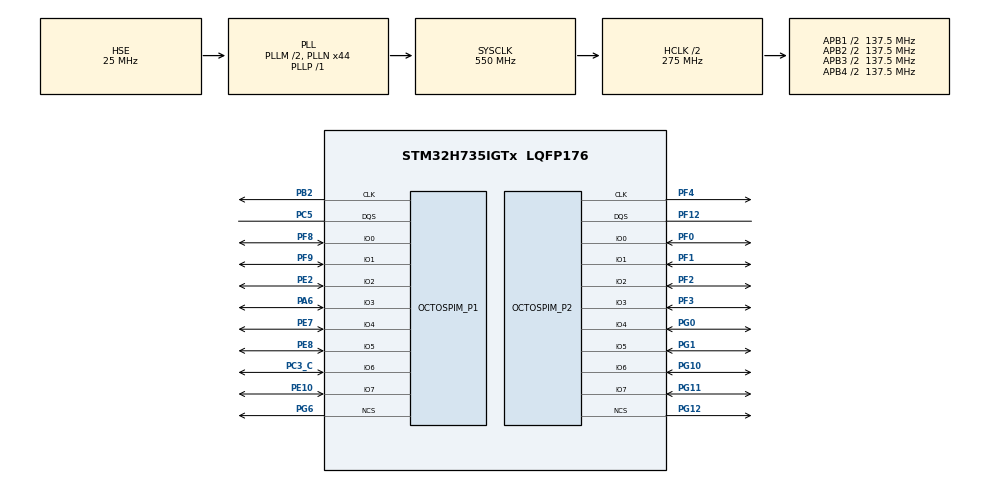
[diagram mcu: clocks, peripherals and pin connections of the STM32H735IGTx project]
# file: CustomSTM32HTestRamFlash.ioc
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CORTEX_M7.AccessPermission_S-Cortex_Memory_Protection_Unit_Region2_Settings_S=MPU_REGION_FULL_ACCESS
CORTEX_M7.AccessPermission_Spec=MPU_REGION_FULL_ACCESS
CORTEX_M7.BaseAddress_S-Cortex_Memory_Protection_Unit_Region1_Settings_S=0x90000000
CORTEX_M7.BaseAddress_S-Cortex_Memory_Protection_Unit_Region2_Settings_S=0x90000000
CORTEX_M7.BaseAddress_Spec=0x24000000
CORTEX_M7.DisableExec_S-Cortex_Memory_Protection_Unit_Region1_Settings_S=MPU_INSTRUCTION_ACCESS_DISABLE
CORTEX_M7.DisableExec_S-Cortex_Memory_Protection_Unit_Region2_Settings_S=MPU_INSTRUCTION_ACCESS_DISABLE
CORTEX_M7.Enable_S-Cortex_Memory_Protection_Unit_Region1_Settings_S=MPU_REGION_ENABLE
CORTEX_M7.Enable_S-Cortex_Memory_Protection_Unit_Region2_Settings_S=MPU_REGION_ENABLE
CORTEX_M7.IsBufferable_S-Cortex_Memory_Protection_Unit_Region2_Settings_S=MPU_ACCESS_NOT_BUFFERABLE
CORTEX_M7.IsBufferable_Spec=MPU_ACCESS_BUFFERABLE
CORTEX_M7.IsCacheable_S-Cortex_Memory_Protection_Unit_Region2_Settings_S=MPU_ACCESS_CACHEABLE
CORTEX_M7.IsCacheable_Spec=MPU_ACCESS_CACHEABLE
CORTEX_M7.IsShareable_Spec=MPU_ACCESS_NOT_SHAREABLE
CORTEX_M7.Size_S-Cortex_Memory_Protection_Unit_Region1_Settings_S=MPU_REGION_SIZE_512MB
CORTEX_M7.Size_S-Cortex_Memory_Protection_Unit_Region2_Settings_S=MPU_REGION_SIZE_64MB
CORTEX_M7.Size_Spec=MPU_REGION_SIZE_512KB
CORTEX_M7.SubRegionDisable_Spec=0x0
CORTEX_M7.default_mode_Activation=1
Mcu.Family=STM32H7
Mcu.Name=STM32H735IGTx
Mcu.Package=LQFP176
NVIC.PriorityGroup=NVIC_PRIORITYGROUP_4
OCTOSPI1.ChipSelectHighTime=2
OCTOSPI1.ClockPrescaler=2
OCTOSPI1.FifoThreshold=4
OCTOSPI1.MemoryType=HAL_OSPI_MEMTYPE_MACRONIX
OCTOSPI2.AccessTime=6
OCTOSPI2.ChipSelectBoundary=23
OCTOSPI2.ChipSelectHighTime=4
OCTOSPI2.ClockPrescaler=2
OCTOSPI2.DelayBlockBypass=HAL_OSPI_DELAY_BLOCK_USED
OCTOSPI2.DelayHoldQuarterCycle=HAL_OSPI_DHQC_ENABLE
OCTOSPI2.DeviceSize=24
OCTOSPI2.FifoThreshold=4
OCTOSPI2.LatencyMode=HAL_OSPI_FIXED_LATENCY
OCTOSPI2.RWRecoveryTime=3
OCTOSPI2.Refresh=400
OCTOSPI2.WriteZeroLatency=HAL_OSPI_LATENCY_ON_WRITE
PA13(JTMS/SWDIO).Mode=Serial_Wire
PA13(JTMS/SWDIO).Signal=DEBUG_JTMS-SWDIO
PA14(JTCK/SWCLK).Mode=Serial_Wire
PA14(JTCK/SWCLK).Signal=DEBUG_JTCK-SWCLK
PA6.Mode=OCTOSPI1_IOL_Port1L
PA6.Signal=OCTOSPIM_P1_IO3
PB2.Mode=O1_P1_CLK
PB2.Signal=OCTOSPIM_P1_CLK
PC3_C.Mode=OCTOSPI1_IOH_Port1H
PC3_C.Signal=OCTOSPIM_P1_IO6
PC5.Mode=OCTOSPI1_Port1_DQS
PC5.Signal=OCTOSPIM_P1_DQS
PE10.Mode=OCTOSPI1_IOH_Port1H
PE10.Signal=OCTOSPIM_P1_IO7
PE2.Mode=OCTOSPI1_IOL_Port1L
PE2.Signal=OCTOSPIM_P1_IO2
PE7.Mode=OCTOSPI1_IOH_Port1H
PE7.Signal=OCTOSPIM_P1_IO4
PE8.Mode=OCTOSPI1_IOH_Port1H
PE8.Signal=OCTOSPIM_P1_IO5
PF0.Mode=OCTOSPI2_IOL_Port2L
PF0.Signal=OCTOSPIM_P2_IO0
PF1.Mode=OCTOSPI2_IOL_Port2L
PF1.Signal=OCTOSPIM_P2_IO1
PF12.Mode=OCTOSPI2_Port2_DQS
PF12.Signal=OCTOSPIM_P2_DQS
PF2.Mode=OCTOSPI2_IOL_Port2L
PF2.Signal=OCTOSPIM_P2_IO2
PF3.Mode=OCTOSPI2_IOL_Port2L
PF3.Signal=OCTOSPIM_P2_IO3
PF4.Mode=O2_P2_CLK
PF4.Signal=OCTOSPIM_P2_CLK
PF8.Mode=OCTOSPI1_IOL_Port1L
PF8.Signal=OCTOSPIM_P1_IO0
PF9.Mode=OCTOSPI1_IOL_Port1L
PF9.Signal=OCTOSPIM_P1_IO1
PG0.Mode=OCTOSPI2_IOH_Port2H
PG0.Signal=OCTOSPIM_P2_IO4
PG1.Mode=OCTOSPI2_IOH_Port2H
PG1.Signal=OCTOSPIM_P2_IO5
PG10.Mode=OCTOSPI2_IOH_Port2H
PG10.Signal=OCTOSPIM_P2_IO6
PG11.Mode=OCTOSPI2_IOH_Port2H
PG11.Signal=OCTOSPIM_P2_IO7
PG12.Mode=OCTOSPI2_Port2_NCS
PG12.Signal=OCTOSPIM_P2_NCS
PG6.Mode=OCTOSPI1_Port1_NCS
PG6.Signal=OCTOSPIM_P1_NCS
PH0-OSC_IN.Mode=HSE-External-Oscillator
PH0-OSC_IN.Signal=RCC_OSC_IN
PH1-OSC_OUT.Mode=HSE-External-Oscillator
PH1-OSC_OUT.Signal=RCC_OSC_OUT
ProjectManager.HeapSize=0x200
ProjectManager.StackSize=0x400
ProjectManager.TargetToolchain=STM32CubeIDE
RCC.ADCFreq_Value=200000000
RCC.APB1Freq_Value=137500000
RCC.APB2Freq_Value=137500000
RCC.APB3Freq_Value=137500000
RCC.APB4Freq_Value=137500000
RCC.CortexFreq_Value=550000000
RCC.D1PPRE=RCC_APB3_DIV2
RCC.D2PPRE1=RCC_APB1_DIV2
RCC.D2PPRE2=RCC_APB2_DIV2
RCC.D3PPRE=RCC_APB4_DIV2
RCC.DIVM1=2
RCC.DIVM2=5
RCC.DIVM3=25
RCC.DIVN1=44
RCC.DIVN2=80
RCC.DIVN3=288
RCC.DIVP1=1
RCC.HCLKFreq_Value=275000000
RCC.HPRE=RCC_HCLK_DIV2
RCC.PLL2FRACN=0
RCC.PLL3FRACN=0
RCC.PLLFRACN=0
RCC.PLLSourceVirtual=RCC_PLLSOURCE_HSE
RCC.QSPICLockSelection=RCC_OSPICLKSOURCE_PLL2
RCC.SYSCLKFreq_VALUE=550000000
RCC.SYSCLKSource=RCC_SYSCLKSOURCE_PLLCLK
RCC.USBFreq_Value=275000000
VP_MEMORYMAP_VS_MEMORYMAP.Mode=CurAppReg
VP_OCTOSPI1_VS_octo.Mode=octo_mode
VP_OCTOSPI2_VS_octo.Mode=hyperbus_mode
board=custom

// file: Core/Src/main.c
/* USER CODE BEGIN Header */
/**
 ******************************************************************************
 * @file           : main.c
 * @brief          : Main program body
 ******************************************************************************
 * @attention
 *
 * Copyright (c) 2024 STMicroelectronics.
 * All rights reserved.
 *
 * This software is licensed under terms that can be found in the LICENSE file
 * in the root directory of this software component.
 * If no LICENSE file comes with this software, it is provided AS-IS.
 *
 ******************************************************************************
 */
/* USER CODE END Header */
#include "main.h"

/* USER CODE BEGIN Includes */
#include "stm32h735g_discovery_ospi.h"
#include "stm32h7xx_hal_ospi.h"
#include "stm32h735g_discovery_ts.h"
#include "stm32h735g_discovery_bus.h"
/* USER CODE END Includes */

/* USER CODE BEGIN PD */
#define OSPI_FLASH_ADDRESS_START 0x90000000
//#define OSPI_FLASH_SIZE 0x3D09000 //64MByte
#define OSPI_FLASH_SIZE 100 //100Byte
#define OSPI_RAM_ADDRESS_START 0x70000000
#define OSPI_RAM_SIZE 100 //100Byte
/* USER CODE END PD */

OSPI_HandleTypeDef hospi1;
OSPI_HandleTypeDef hospi2;

/* USER CODE BEGIN PV */
uint32_t counter;
uint32_t *externalFlash = 0x90000000;
uint32_t *externalRam = 0x70000000;
const uint32_t size = 100;
uint32_t result[100];
MX25LM51245G_Info_t infoFlash;
int32_t infoOfMemory = 0;
uint8_t dataFromMemory[100];
uint8_t writeData[100] = { [0 ... 99] = 0x23 };

uint32_t ospi_counter;
uint32_t ospiTestStart;
uint32_t ospiTestStop;

/* USER CODE END PV */

void SystemClock_Config(void);
void PeriphCommonClock_Config(void);
static void MPU_Config(void);
static void MX_GPIO_Init(void);
static void MX_OCTOSPI2_Init(void);
static void MX_OCTOSPI1_Init(void);

/* USER CODE BEGIN 0 */
void ospi_flash_test()
{
	ospiTestStart = HAL_GetTick();
	for (ospi_counter = 0x00; ospi_counter < OSPI_FLASH_SIZE; ospi_counter++)
	{
		*(__IO uint8_t*) (externalFlash + ospi_counter) = (uint8_t) 0x22;
		HAL_Delay(30);
		dataFromMemory[ospi_counter] = *(__IO uint8_t*) (externalFlash + ospi_counter);
	}
	ospiTestStop = HAL_GetTick() - ospiTestStart;
	HAL_Delay(50);
}

void ospi_ram_test()
{

	ospiTestStart = HAL_GetTick();
	for (ospi_counter = 0; ospi_counter < OSPI_RAM_SIZE; ospi_counter++)
	{
		*(__IO uint32_t*) (0x70000000 + ospi_counter) = (uint8_t) 0x23;
		HAL_Delay(30);
		dataFromMemory[ospi_counter] = *(__IO uint8_t*) (0x70000000 + ospi_counter);
	}
	ospiTestStop = HAL_GetTick() - ospiTestStart;
	HAL_Delay(50);

}
/* USER CODE END 0 */

int main(void)
{

	/* MPU Configuration--------------------------------------------------------*/
	MPU_Config();

	/* MCU Configuration--------------------------------------------------------*/

	/* Reset of all peripherals, Initializes the Flash interface and the Systick. */
	HAL_Init();

	/* Configure the system clock */
	SystemClock_Config();

	/* Configure the peripherals common clocks */
	PeriphCommonClock_Config();

	/* Initialize all configured peripherals */
	MX_GPIO_Init();
	MX_OCTOSPI2_Init();
	MX_OCTOSPI1_Init();

	/* Infinite loop */
	while (1)
	{

		/* USER CODE BEGIN 3 */

		if (counter < 100)
		{
			counter++;
		}
		else
		{
			counter = 0;
		}
		HAL_Delay(10);

		//ospi_ram_test();
		//ospi_flash_test();

		//int32_t BSP_OSPI_NOR_Write(uint32_t Instance, uint8_t* pData, uint32_t WriteAddr, uint32_t Size)
		infoOfMemory = BSP_OSPI_NOR_Write(0, writeData, 0x90000000, 100);
		HAL_Delay(10);
		//int32_t BSP_OSPI_NOR_Read(uint32_t Instance, uint8_t* pData, uint32_t ReadAddr, uint32_t Size)
		infoOfMemory = BSP_OSPI_NOR_Read(0,dataFromMemory,0x9000000,100);

	}
	/* USER CODE END 3 */
}

void SystemClock_Config(void)
{
	RCC_OscInitTypeDef RCC_OscInitStruct =
	{ 0 };
	RCC_ClkInitTypeDef RCC_ClkInitStruct =
	{ 0 };

	/** Supply configuration update enable
	 */
	HAL_PWREx_ConfigSupply(PWR_DIRECT_SMPS_SUPPLY);

	/** Configure the main internal regulator output voltage
	 */
	__HAL_PWR_VOLTAGESCALING_CONFIG(PWR_REGULATOR_VOLTAGE_SCALE0);

	while (!__HAL_PWR_GET_FLAG(PWR_FLAG_VOSRDY))
	{
	}

	/** Initializes the RCC Oscillators according to the specified parameters
	 * in the RCC_OscInitTypeDef structure.
	 */
	RCC_OscInitStruct.OscillatorType = RCC_OSCILLATORTYPE_HSE;
	RCC_OscInitStruct.HSEState = RCC_HSE_ON;
	RCC_OscInitStruct.PLL.PLLState = RCC_PLL_ON;
	RCC_OscInitStruct.PLL.PLLSource = RCC_PLLSOURCE_HSE;
	RCC_OscInitStruct.PLL.PLLM = 2;
	RCC_OscInitStruct.PLL.PLLN = 44;
	RCC_OscInitStruct.PLL.PLLP = 1;
	RCC_OscInitStruct.PLL.PLLQ = 2;
	RCC_OscInitStruct.PLL.PLLR = 2;
	RCC_OscInitStruct.PLL.PLLRGE = RCC_PLL1VCIRANGE_3;
	RCC_OscInitStruct.PLL.PLLVCOSEL = RCC_PLL1VCOWIDE;
	RCC_OscInitStruct.PLL.PLLFRACN = 0;
	if (HAL_RCC_OscConfig(&RCC_OscInitStruct) != HAL_OK)
	{
		Error_Handler();
	}

	/** Initializes the CPU, AHB and APB buses clocks
	 */
	RCC_ClkInitStruct.ClockType = RCC_CLOCKTYPE_HCLK | RCC_CLOCKTYPE_SYSCLK
			| RCC_CLOCKTYPE_PCLK1 | RCC_CLOCKTYPE_PCLK2 | RCC_CLOCKTYPE_D3PCLK1
			| RCC_CLOCKTYPE_D1PCLK1;
	RCC_ClkInitStruct.SYSCLKSource = RCC_SYSCLKSOURCE_PLLCLK;
	RCC_ClkInitStruct.SYSCLKDivider = RCC_SYSCLK_DIV1;
	RCC_ClkInitStruct.AHBCLKDivider = RCC_HCLK_DIV2;
	RCC_ClkInitStruct.APB3CLKDivider = RCC_APB3_DIV2;
	RCC_ClkInitStruct.APB1CLKDivider = RCC_APB1_DIV2;
	RCC_ClkInitStruct.APB2CLKDivider = RCC_APB2_DIV2;
	RCC_ClkInitStruct.APB4CLKDivider = RCC_APB4_DIV2;

	if (HAL_RCC_ClockConfig(&RCC_ClkInitStruct, FLASH_LATENCY_3) != HAL_OK)
	{
		Error_Handler();
	}
}

void PeriphCommonClock_Config(void)
{
	RCC_PeriphCLKInitTypeDef PeriphClkInitStruct =
	{ 0 };

	/** Initializes the peripherals clock
	 */
	PeriphClkInitStruct.PeriphClockSelection = RCC_PERIPHCLK_OSPI;
	PeriphClkInitStruct.PLL2.PLL2M = 5;
	PeriphClkInitStruct.PLL2.PLL2N = 80;
	PeriphClkInitStruct.PLL2.PLL2P = 2;
	PeriphClkInitStruct.PLL2.PLL2Q = 2;
	PeriphClkInitStruct.PLL2.PLL2R = 2;
	PeriphClkInitStruct.PLL2.PLL2RGE = RCC_PLL2VCIRANGE_2;
	PeriphClkInitStruct.PLL2.PLL2VCOSEL = RCC_PLL2VCOWIDE;
	PeriphClkInitStruct.PLL2.PLL2FRACN = 0;
	PeriphClkInitStruct.OspiClockSelection = RCC_OSPICLKSOURCE_PLL2;
	if (HAL_RCCEx_PeriphCLKConfig(&PeriphClkInitStruct) != HAL_OK)
	{
		Error_Handler();
	}
}

static void MX_OCTOSPI1_Init(void)
{

	/* USER CODE BEGIN OCTOSPI1_Init 0 */
	BSP_OSPI_NOR_Init_t ospi_nor_int;
	/* USER CODE END OCTOSPI1_Init 0 */

	OSPIM_CfgTypeDef sOspiManagerCfg =
	{ 0 };

	/* OCTOSPI1 parameter configuration*/
	hospi1.Instance = OCTOSPI1;
	hospi1.Init.FifoThreshold = 4;
	hospi1.Init.DualQuad = HAL_OSPI_DUALQUAD_DISABLE;
	hospi1.Init.MemoryType = HAL_OSPI_MEMTYPE_MACRONIX;
	hospi1.Init.DeviceSize = 32;
	hospi1.Init.ChipSelectHighTime = 2;
	hospi1.Init.FreeRunningClock = HAL_OSPI_FREERUNCLK_DISABLE;
	hospi1.Init.ClockMode = HAL_OSPI_CLOCK_MODE_0;
	hospi1.Init.WrapSize = HAL_OSPI_WRAP_NOT_SUPPORTED;
	hospi1.Init.ClockPrescaler = 2;
	hospi1.Init.SampleShifting = HAL_OSPI_SAMPLE_SHIFTING_NONE;
	hospi1.Init.DelayHoldQuarterCycle = HAL_OSPI_DHQC_DISABLE;
	hospi1.Init.ChipSelectBoundary = 0;
	hospi1.Init.DelayBlockBypass = HAL_OSPI_DELAY_BLOCK_BYPASSED;
	hospi1.Init.MaxTran = 0;
	hospi1.Init.Refresh = 0;
	if (HAL_OSPI_Init(&hospi1) != HAL_OK)
	{
		Error_Handler();
	}
	sOspiManagerCfg.ClkPort = 1;
	sOspiManagerCfg.DQSPort = 1;
	sOspiManagerCfg.NCSPort = 1;
	sOspiManagerCfg.IOLowPort = HAL_OSPIM_IOPORT_1_LOW;
	sOspiManagerCfg.IOHighPort = HAL_OSPIM_IOPORT_1_HIGH;
	if (HAL_OSPIM_Config(&hospi1, &sOspiManagerCfg,
			HAL_OSPI_TIMEOUT_DEFAULT_VALUE) != HAL_OK)
	{
		Error_Handler();
	}
	/* USER CODE BEGIN OCTOSPI1_Init 2 */
	HAL_OSPI_DeInit(&hospi1);
	ospi_nor_int.InterfaceMode = BSP_OSPI_NOR_OPI_MODE;
	ospi_nor_int.TransferRate = BSP_OSPI_NOR_DTR_TRANSFER;
	BSP_OSPI_NOR_DeInit(0);
	if (BSP_OSPI_NOR_Init(0, &ospi_nor_int) != BSP_ERROR_NONE)
	{
		Error_Handler();
	}
	if (BSP_OSPI_NOR_EnableMemoryMappedMode(0) != BSP_ERROR_NONE)
	{
		Error_Handler();
	}
	/* USER CODE END OCTOSPI1_Init 2 */

}

static void MX_OCTOSPI2_Init(void)
{

	/* USER CODE BEGIN OCTOSPI2_Init 0 */
	BSP_OSPI_RAM_Init_t ospi_ram_init;
	/* USER CODE END OCTOSPI2_Init 0 */

	OSPIM_CfgTypeDef sOspiManagerCfg =
	{ 0 };
	OSPI_HyperbusCfgTypeDef sHyperBusCfg =
	{ 0 };

	/* USER CODE BEGIN OCTOSPI2_Init 1 */
	OSPI_HyperbusCmdTypeDef sCommand =
	{ 0 };
	OSPI_MemoryMappedTypeDef sMemMappedCfg =
	{ 0 };
	/* USER CODE END OCTOSPI2_Init 1 */
	/* OCTOSPI2 parameter configuration*/
	hospi2.Instance = OCTOSPI2;
	hospi2.Init.FifoThreshold = 4;
	hospi2.Init.DualQuad = HAL_OSPI_DUALQUAD_DISABLE;
	hospi2.Init.MemoryType = HAL_OSPI_MEMTYPE_HYPERBUS;
	hospi2.Init.DeviceSize = 24;
	hospi2.Init.ChipSelectHighTime = 4;
	hospi2.Init.FreeRunningClock = HAL_OSPI_FREERUNCLK_DISABLE;
	hospi2.Init.ClockMode = HAL_OSPI_CLOCK_MODE_0;
	hospi2.Init.WrapSize = HAL_OSPI_WRAP_NOT_SUPPORTED;
	hospi2.Init.ClockPrescaler = 2;
	hospi2.Init.SampleShifting = HAL_OSPI_SAMPLE_SHIFTING_NONE;
	hospi2.Init.DelayHoldQuarterCycle = HAL_OSPI_DHQC_ENABLE;
	hospi2.Init.ChipSelectBoundary = 23;
	hospi2.Init.DelayBlockBypass = HAL_OSPI_DELAY_BLOCK_USED;
	hospi2.Init.MaxTran = 0;
	hospi2.Init.Refresh = 400;
	if (HAL_OSPI_Init(&hospi2) != HAL_OK)
	{
		Error_Handler();
	}
	sOspiManagerCfg.ClkPort = 2;
	sOspiManagerCfg.DQSPort = 2;
	sOspiManagerCfg.NCSPort = 2;
	sOspiManagerCfg.IOLowPort = HAL_OSPIM_IOPORT_2_LOW;
	sOspiManagerCfg.IOHighPort = HAL_OSPIM_IOPORT_2_HIGH;
	if (HAL_OSPIM_Config(&hospi2, &sOspiManagerCfg,
			HAL_OSPI_TIMEOUT_DEFAULT_VALUE) != HAL_OK)
	{
		Error_Handler();
	}
	sHyperBusCfg.RWRecoveryTime = 3;
	sHyperBusCfg.AccessTime = 6;
	sHyperBusCfg.WriteZeroLatency = HAL_OSPI_LATENCY_ON_WRITE;
	sHyperBusCfg.LatencyMode = HAL_OSPI_FIXED_LATENCY;
	if (HAL_OSPI_HyperbusCfg(&hospi2, &sHyperBusCfg,
			HAL_OSPI_TIMEOUT_DEFAULT_VALUE) != HAL_OK)
	{
		Error_Handler();
	}
	/* USER CODE BEGIN OCTOSPI2_Init 2 */
	sCommand.AddressSpace = HAL_OSPI_MEMORY_ADDRESS_SPACE;
	sCommand.AddressSize = HAL_OSPI_ADDRESS_32_BITS;
	sCommand.DQSMode = HAL_OSPI_DQS_ENABLE;
	sCommand.Address = 0;
	sCommand.NbData = 1;

	if (HAL_OSPI_HyperbusCmd(&hospi2, &sCommand, HAL_OSPI_TIMEOUT_DEFAULT_VALUE)
			!= HAL_OK)
	{
		Error_Handler();
	}

	sMemMappedCfg.TimeOutActivation = HAL_OSPI_TIMEOUT_COUNTER_DISABLE;

	if (HAL_OSPI_MemoryMapped(&hospi2, &sMemMappedCfg) != HAL_OK)
	{
		Error_Handler();
	}
	/* USER CODE END OCTOSPI2_Init 2 */

}

static void MX_GPIO_Init(void)
{

	/* GPIO Ports Clock Enable */
	__HAL_RCC_GPIOE_CLK_ENABLE();
	__HAL_RCC_GPIOF_CLK_ENABLE();
	__HAL_RCC_GPIOH_CLK_ENABLE();
	__HAL_RCC_GPIOC_CLK_ENABLE();
	__HAL_RCC_GPIOA_CLK_ENABLE();
	__HAL_RCC_GPIOB_CLK_ENABLE();
	__HAL_RCC_GPIOG_CLK_ENABLE();

}

/* MPU Configuration */

void MPU_Config(void)
{
	MPU_Region_InitTypeDef MPU_InitStruct =
	{ 0 };

	/* Disables the MPU */
	HAL_MPU_Disable();

	/** Initializes and configures the Region and the memory to be protected
	 */
	MPU_InitStruct.Enable = MPU_REGION_ENABLE;
	MPU_InitStruct.Number = MPU_REGION_NUMBER0;
	MPU_InitStruct.BaseAddress = 0x24000000;
	MPU_InitStruct.Size = MPU_REGION_SIZE_512KB;
	MPU_InitStruct.SubRegionDisable = 0x0;
	MPU_InitStruct.TypeExtField = MPU_TEX_LEVEL0;
	MPU_InitStruct.AccessPermission = MPU_REGION_FULL_ACCESS;
	MPU_InitStruct.DisableExec = MPU_INSTRUCTION_ACCESS_DISABLE;
	MPU_InitStruct.IsShareable = MPU_ACCESS_NOT_SHAREABLE;
	MPU_InitStruct.IsCacheable = MPU_ACCESS_CACHEABLE;
	MPU_InitStruct.IsBufferable = MPU_ACCESS_BUFFERABLE;

	HAL_MPU_ConfigRegion(&MPU_InitStruct);

	/** Initializes and configures the Region and the memory to be protected
	 */
	MPU_InitStruct.Number = MPU_REGION_NUMBER1;
	MPU_InitStruct.BaseAddress = 0x90000000;
	MPU_InitStruct.Size = MPU_REGION_SIZE_512MB;
	MPU_InitStruct.AccessPermission = MPU_REGION_NO_ACCESS;
	MPU_InitStruct.IsCacheable = MPU_ACCESS_NOT_CACHEABLE;
	MPU_InitStruct.IsBufferable = MPU_ACCESS_NOT_BUFFERABLE;

	HAL_MPU_ConfigRegion(&MPU_InitStruct);

	/** Initializes and configures the Region and the memory to be protected
	 */
	MPU_InitStruct.Number = MPU_REGION_NUMBER2;
	MPU_InitStruct.Size = MPU_REGION_SIZE_64MB;
	MPU_InitStruct.AccessPermission = MPU_REGION_FULL_ACCESS;
	MPU_InitStruct.IsCacheable = MPU_ACCESS_CACHEABLE;

	HAL_MPU_ConfigRegion(&MPU_InitStruct);
	/* Enables the MPU */
	HAL_MPU_Enable(MPU_PRIVILEGED_DEFAULT);

}

void Error_Handler(void)
{
	__disable_irq();
	while (1)
	{
	}
}
